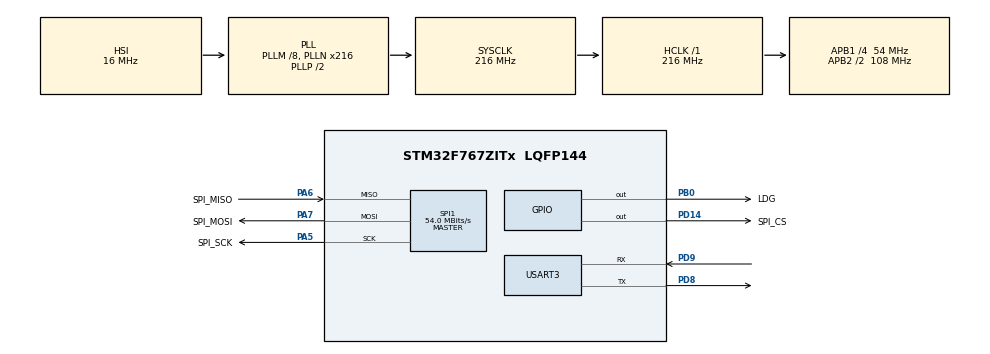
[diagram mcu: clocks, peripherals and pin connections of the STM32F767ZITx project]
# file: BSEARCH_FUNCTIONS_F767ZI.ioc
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CRC.InputDataFormat=CRC_INPUTDATA_FORMAT_BYTES
CRC.InputDataInversionMode=CRC_INPUTDATA_INVERSION_BYTE
CRC.OutputDataInversionMode=CRC_OUTPUTDATA_INVERSION_ENABLE
Dma.Request0=SPI1_TX
Dma.Request1=SPI1_RX
Dma.Request2=USART3_TX
Dma.Request3=USART3_RX
Dma.SPI1_RX.1.Direction=DMA_PERIPH_TO_MEMORY
Dma.SPI1_RX.1.FIFOMode=DMA_FIFOMODE_DISABLE
Dma.SPI1_RX.1.Instance=DMA2_Stream0
Dma.SPI1_RX.1.MemDataAlignment=DMA_MDATAALIGN_BYTE
Dma.SPI1_RX.1.MemInc=DMA_MINC_ENABLE
Dma.SPI1_RX.1.Mode=DMA_NORMAL
Dma.SPI1_RX.1.PeriphDataAlignment=DMA_PDATAALIGN_BYTE
Dma.SPI1_RX.1.PeriphInc=DMA_PINC_DISABLE
Dma.SPI1_RX.1.Priority=DMA_PRIORITY_VERY_HIGH
Dma.SPI1_TX.0.Direction=DMA_MEMORY_TO_PERIPH
Dma.SPI1_TX.0.FIFOMode=DMA_FIFOMODE_DISABLE
Dma.SPI1_TX.0.Instance=DMA2_Stream3
Dma.SPI1_TX.0.MemDataAlignment=DMA_MDATAALIGN_BYTE
Dma.SPI1_TX.0.MemInc=DMA_MINC_ENABLE
Dma.SPI1_TX.0.Mode=DMA_NORMAL
Dma.SPI1_TX.0.PeriphDataAlignment=DMA_PDATAALIGN_BYTE
Dma.SPI1_TX.0.PeriphInc=DMA_PINC_DISABLE
Dma.SPI1_TX.0.Priority=DMA_PRIORITY_HIGH
Dma.USART3_RX.3.Direction=DMA_PERIPH_TO_MEMORY
Dma.USART3_RX.3.FIFOMode=DMA_FIFOMODE_DISABLE
Dma.USART3_RX.3.Instance=DMA1_Stream1
Dma.USART3_RX.3.MemDataAlignment=DMA_MDATAALIGN_BYTE
Dma.USART3_RX.3.MemInc=DMA_MINC_ENABLE
Dma.USART3_RX.3.Mode=DMA_NORMAL
Dma.USART3_RX.3.PeriphDataAlignment=DMA_PDATAALIGN_BYTE
Dma.USART3_RX.3.PeriphInc=DMA_PINC_DISABLE
Dma.USART3_RX.3.Priority=DMA_PRIORITY_MEDIUM
Dma.USART3_TX.2.Direction=DMA_MEMORY_TO_PERIPH
Dma.USART3_TX.2.FIFOMode=DMA_FIFOMODE_DISABLE
Dma.USART3_TX.2.Instance=DMA1_Stream3
Dma.USART3_TX.2.MemDataAlignment=DMA_MDATAALIGN_BYTE
Dma.USART3_TX.2.MemInc=DMA_MINC_ENABLE
Dma.USART3_TX.2.Mode=DMA_NORMAL
Dma.USART3_TX.2.PeriphDataAlignment=DMA_PDATAALIGN_BYTE
Dma.USART3_TX.2.PeriphInc=DMA_PINC_DISABLE
Dma.USART3_TX.2.Priority=DMA_PRIORITY_MEDIUM
Mcu.Family=STM32F7
Mcu.Name=STM32F767ZITx
Mcu.Package=LQFP144
NVIC.DMA1_Stream1_IRQn=true\:0\:0\:false\:false\:true\:false\:true
NVIC.DMA1_Stream3_IRQn=true\:0\:0\:false\:false\:true\:false\:true
NVIC.DMA2_Stream0_IRQn=true\:0\:0\:false\:false\:true\:false\:true
NVIC.DMA2_Stream3_IRQn=true\:0\:0\:false\:false\:true\:false\:true
NVIC.PriorityGroup=NVIC_PRIORITYGROUP_4
NVIC.SPI1_IRQn=true\:0\:0\:false\:false\:true\:true\:true
NVIC.USART3_IRQn=true\:0\:0\:false\:false\:true\:true\:true
PA5.GPIO_Label=SPI_SCK
PA5.Mode=Full_Duplex_Master
PA5.Signal=SPI1_SCK
PA6.GPIO_Label=SPI_MISO
PA6.Mode=Full_Duplex_Master
PA6.Signal=SPI1_MISO
PA7.GPIO_Label=SPI_MOSI
PA7.Mode=Full_Duplex_Master
PA7.Signal=SPI1_MOSI
PB0.GPIO_Label=LDG
PB0.Signal=GPIO_Output
PD14.GPIO_Label=SPI_CS
PD14.GPIO_PuPd=GPIO_PULLUP
PD14.GPIO_Speed=GPIO_SPEED_FREQ_HIGH
PD14.PinState=GPIO_PIN_SET
PD14.Signal=GPIO_Output
PD8.Mode=Asynchronous
PD8.Signal=USART3_TX
PD9.Mode=Asynchronous
PD9.Signal=USART3_RX
ProjectManager.HeapSize=0x200
ProjectManager.StackSize=0x400
ProjectManager.TargetToolchain=STM32CubeIDE
RCC.AHBFreq_Value=216000000
RCC.APB1CLKDivider=RCC_HCLK_DIV4
RCC.APB1Freq_Value=54000000
RCC.APB1TimFreq_Value=108000000
RCC.APB2CLKDivider=RCC_HCLK_DIV2
RCC.APB2Freq_Value=108000000
RCC.APB2TimFreq_Value=216000000
RCC.CortexFreq_Value=216000000
RCC.HCLKFreq_Value=216000000
RCC.HSE_VALUE=25000000
RCC.HSI_VALUE=16000000
RCC.LSE_VALUE=32768
RCC.PLLM=8
RCC.PLLN=216
RCC.PLLQ=9
RCC.SYSCLKFreq_VALUE=216000000
RCC.SYSCLKSource=RCC_SYSCLKSOURCE_PLLCLK
RCC.USBFreq_Value=48000000
RCC.VCOOutputFreq_Value=432000000
SPI1.BaudRatePrescaler=SPI_BAUDRATEPRESCALER_2
SPI1.CLKPhase=SPI_PHASE_2EDGE
SPI1.CLKPolarity=SPI_POLARITY_HIGH
SPI1.CRCCalculation=SPI_CRCCALCULATION_DISABLE
SPI1.CalculateBaudRate=54.0 MBits/s
SPI1.DataSize=SPI_DATASIZE_8BIT
SPI1.Direction=SPI_DIRECTION_2LINES
SPI1.Mode=SPI_MODE_MASTER
SPI1.VirtualType=VM_MASTER
USART3.VirtualMode-Asynchronous=VM_ASYNC
VP_CRC_VS_CRC.Mode=CRC_Activate
VP_RNG_VS_RNG.Mode=RNG_Activate
board=custom

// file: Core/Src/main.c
/* USER CODE BEGIN Header */
/**
 ******************************************************************************
 * @file           : main.c
 * @brief          : Main program body
 ******************************************************************************
 * @attention
 *
 * <h2><center>&copy; Copyright (c) 2021 STMicroelectronics.
 * All rights reserved.</center></h2>
 *
 * This software component is licensed by ST under BSD 3-Clause license,
 * the "License"; You may not use this file except in compliance with the
 * License. You may obtain a copy of the License at:
 *                        opensource.org/licenses/BSD-3-Clause
 *
 ******************************************************************************
 */
/* USER CODE END Header */
#include "main.h"

/* USER CODE BEGIN Includes */
#include <stdio.h>

#include "crc.h"
#include "dma.h"
#include "gpio.h"
#include "rng.h"
#include "spi.h"
#include "usart.h"

#include "lfs_interface.h"
/* USER CODE END Includes */

/* USER CODE BEGIN PV */
extern uartRxStruct uartRx;
/* USER CODE END PV */

void SystemClock_Config(void);

/* USER CODE BEGIN 0 */
lfs_t lfs;
lfs_file_t file;
struct lfs_config cfg;
lfs_dir_t dir;
/* USER CODE END 0 */

int main(void)
{

  /* MCU Configuration--------------------------------------------------------*/

  /* Reset of all peripherals, Initializes the Flash interface and the Systick. */
  HAL_Init();

  /* USER CODE BEGIN SysInit */
	SystemClock_Config();

	MX_GPIO_Init();
	MX_DMA_Init();
	MX_SPI1_Init();
	MX_USART3_UART_Init();
	MX_CRC_Init();
	MX_RNG_Init();
  /* USER CODE END SysInit */

  /* Initialize all configured peripherals */
  /* USER CODE BEGIN 2 */

	HAL_GPIO_WritePin(LDG_GPIO_Port, LDG_Pin, GPIO_PIN_SET);
	printf("Built on %s at %s\n\n", __DATE__, __TIME__);

	lfsConfig(&cfg);

	lfs_file_open(&lfs, &file, "test.txt", LFS_O_CREAT);
	char *data =
			"This is a test file\nNow this is a new line in the text file\nAnd this is a third line in the test file, great!";

	lfs_file_rewind(&lfs, &file);
	lfs_file_write(&lfs, &file, (char*) data, strlen(data));
	lfs_file_close(&lfs, &file);

	HAL_UART_Receive_IT(HANDLE_UART3, &uartRx.rxChar, 1);

  /* USER CODE END 2 */

  /* Infinite loop */
	while (1) {

    /* USER CODE BEGIN 3 */
		HAL_GPIO_TogglePin(LDG_GPIO_Port, LDG_Pin);
		HAL_Delay(200);
	}
  /* USER CODE END 3 */
}

void SystemClock_Config(void)
{
  RCC_OscInitTypeDef RCC_OscInitStruct = {0};
  RCC_ClkInitTypeDef RCC_ClkInitStruct = {0};
  RCC_PeriphCLKInitTypeDef PeriphClkInitStruct = {0};

  /** Configure the main internal regulator output voltage
  */
  __HAL_RCC_PWR_CLK_ENABLE();
  __HAL_PWR_VOLTAGESCALING_CONFIG(PWR_REGULATOR_VOLTAGE_SCALE1);
  /** Initializes the RCC Oscillators according to the specified parameters
  * in the RCC_OscInitTypeDef structure.
  */
  RCC_OscInitStruct.OscillatorType = RCC_OSCILLATORTYPE_HSI;
  RCC_OscInitStruct.HSIState = RCC_HSI_ON;
  RCC_OscInitStruct.HSICalibrationValue = RCC_HSICALIBRATION_DEFAULT;
  RCC_OscInitStruct.PLL.PLLState = RCC_PLL_ON;
  RCC_OscInitStruct.PLL.PLLSource = RCC_PLLSOURCE_HSI;
  RCC_OscInitStruct.PLL.PLLM = 8;
  RCC_OscInitStruct.PLL.PLLN = 216;
  RCC_OscInitStruct.PLL.PLLP = RCC_PLLP_DIV2;
  RCC_OscInitStruct.PLL.PLLQ = 9;
  RCC_OscInitStruct.PLL.PLLR = 2;
  if (HAL_RCC_OscConfig(&RCC_OscInitStruct) != HAL_OK)
  {
    Error_Handler();
  }
  /** Activate the Over-Drive mode
  */
  if (HAL_PWREx_EnableOverDrive() != HAL_OK)
  {
    Error_Handler();
  }
  /** Initializes the CPU, AHB and APB buses clocks
  */
  RCC_ClkInitStruct.ClockType = RCC_CLOCKTYPE_HCLK|RCC_CLOCKTYPE_SYSCLK
                              |RCC_CLOCKTYPE_PCLK1|RCC_CLOCKTYPE_PCLK2;
  RCC_ClkInitStruct.SYSCLKSource = RCC_SYSCLKSOURCE_PLLCLK;
  RCC_ClkInitStruct.AHBCLKDivider = RCC_SYSCLK_DIV1;
  RCC_ClkInitStruct.APB1CLKDivider = RCC_HCLK_DIV4;
  RCC_ClkInitStruct.APB2CLKDivider = RCC_HCLK_DIV2;

  if (HAL_RCC_ClockConfig(&RCC_ClkInitStruct, FLASH_LATENCY_7) != HAL_OK)
  {
    Error_Handler();
  }
  PeriphClkInitStruct.PeriphClockSelection = RCC_PERIPHCLK_USART3|RCC_PERIPHCLK_CLK48;
  PeriphClkInitStruct.Usart3ClockSelection = RCC_USART3CLKSOURCE_PCLK1;
  PeriphClkInitStruct.Clk48ClockSelection = RCC_CLK48SOURCE_PLL;
  if (HAL_RCCEx_PeriphCLKConfig(&PeriphClkInitStruct) != HAL_OK)
  {
    Error_Handler();
  }
}

/* USER CODE BEGIN 4 */
int _write(int file, char *ptr, int len) {
	HAL_UART_Transmit(&huart3, (uint8_t*) ptr, len, 1000);
//	HAL_UART_Transmit_DMA(&huart3, (uint8_t*) ptr, len);
//	HAL_UART_Transmit_IT(&huart3, (uint8_t*)ptr, len);
	return len;
}
/* USER CODE END 4 */

void Error_Handler(void)
{
	__disable_irq();
	while (1) {
	}
}

/************************ (C) COPYRIGHT STMicroelectronics *****END OF FILE****/
